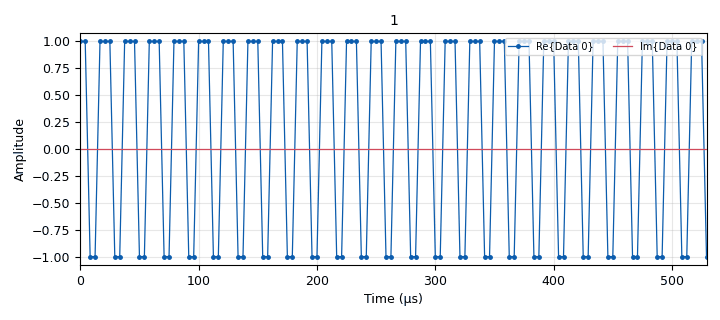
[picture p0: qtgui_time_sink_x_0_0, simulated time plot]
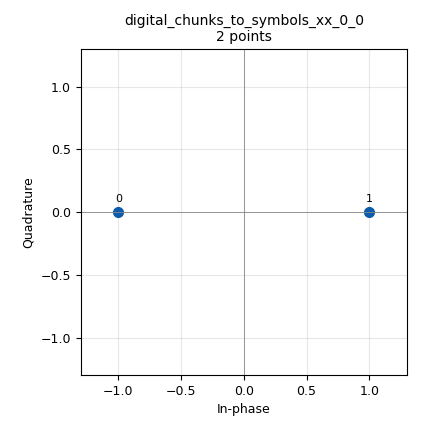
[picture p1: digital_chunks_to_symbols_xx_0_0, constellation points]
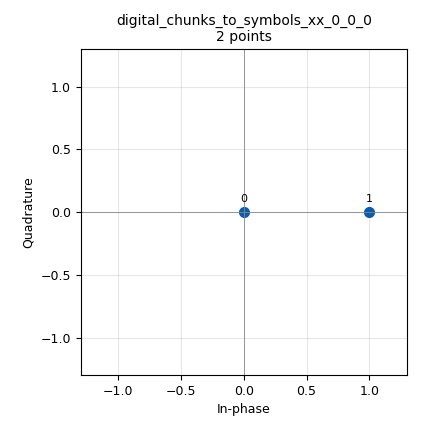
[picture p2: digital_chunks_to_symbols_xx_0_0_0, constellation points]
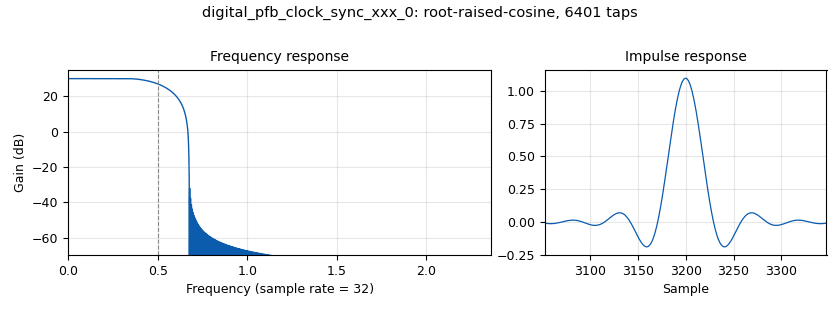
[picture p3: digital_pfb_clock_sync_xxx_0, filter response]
<?xml version='1.0' encoding='utf-8'?>
<?grc format='1' created='3.7.13'?>
<flow_graph>
<block>
<key>options</key>
<param><key>id</key><value>top_block</value></param>
<param><key>author</key><value>Aaron Scher</value></param>
<param><key>description</key><value>Transmit and receive example</value></param>
<param><key>generate_options</key><value>qt_gui</value></param>
<param><key>title</key><value>HackRF - RTLSDR loop back test</value></param>
</block>
<block>
<key>variable</key>
<param><key>id</key><value>EBW</value></param>
<param><key>value</key><value>.35</value></param>
</block>
<block>
<key>variable_rrc_filter_taps</key>
<param><key>id</key><value>RRC_filter_taps</value></param>
<param><key>comment</key><value>Root raised cosine definition.</value></param>
<param><key>alpha</key><value>EBW</value></param>
<param><key>gain</key><value>nfilts</value></param>
<param><key>ntaps</key><value>5*sps_TX*nfilts</value></param>
<param><key>samp_rate</key><value>nfilts</value></param>
<param><key>sym_rate</key><value>1.0</value></param>
</block>
<block>
<key>variable</key>
<param><key>id</key><value>center_freq</value></param>
<param><key>comment</key><value>RF carrier frequency</value></param>
<param><key>value</key><value>100E6</value></param>
</block>
<block>
<key>variable</key>
<param><key>id</key><value>freq_offset_value</value></param>
<param><key>comment</key><value>Digitally upcovert transmitted 
signal by this value to avoid
DC spurs, etc.
At the receiver end, we will
need to downconvert signal
by this value.</value></param>
<param><key>value</key><value>30E3</value></param>
</block>
<block>
<key>variable</key>
<param><key>id</key><value>nfilts</value></param>
<param><key>value</key><value>32</value></param>
</block>
<block>
<key>variable</key>
<param><key>id</key><value>samp_rate</value></param>
<param><key>comment</key><value>Sample rate - 
determines BW
of transmitter and receiver.
This should be larger
than BW of signal itself.</value></param>
<param><key>value</key><value>240E3</value></param>
</block>
<block>
<key>variable</key>
<param><key>id</key><value>sps_RX</value></param>
<param><key>comment</key><value>Samples per 
signal at
receiver</value></param>
<param><key>value</key><value>40/10</value></param>
</block>
<block>
<key>variable</key>
<param><key>id</key><value>sps_TX</value></param>
<param><key>comment</key><value>Samples 
per signal
at transmitter</value></param>
<param><key>value</key><value>40</value></param>
</block>
<block>
<key>analog_feedforward_agc_cc</key>
<param><key>id</key><value>analog_feedforward_agc_cc_0</value></param>
<param><key>comment</key><value>Optional AGC</value></param>
<param><key>num_samples</key><value>1024/2</value></param>
<param><key>reference</key><value>1.0</value></param>
</block>
<block>
<key>analog_pwr_squelch_xx</key>
<param><key>id</key><value>analog_pwr_squelch_xx_0</value></param>
<param><key>alpha</key><value>.01</value></param>
<param><key>comment</key><value>Optional power squelch</value></param>
<param><key>gate</key><value>True</value></param>
<param><key>ramp</key><value>0</value></param>
<param><key>threshold</key><value>-20</value></param>
<param><key>type</key><value>complex</value></param>
</block>
<block>
<key>analog_sig_source_x</key>
<param><key>id</key><value>analog_sig_source_x_0</value></param>
<param><key>amp</key><value>1</value></param>
<param><key>comment</key><value>Local oscillator</value></param>
<param><key>freq</key><value>freq_offset_value</value></param>
<param><key>offset</key><value>0</value></param>
<param><key>type</key><value>complex</value></param>
<param><key>samp_rate</key><value>samp_rate</value></param>
<param><key>waveform</key><value>analog.GR_COS_WAVE</value></param>
</block>
<block>
<key>analog_sig_source_x</key>
<param><key>id</key><value>analog_sig_source_x_1</value></param>
<param><key>amp</key><value>1</value></param>
<param><key>comment</key><value>local oscillator</value></param>
<param><key>freq</key><value>-freq_offset_value</value></param>
<param><key>offset</key><value>0</value></param>
<param><key>type</key><value>complex</value></param>
<param><key>samp_rate</key><value>samp_rate</value></param>
<param><key>waveform</key><value>analog.GR_COS_WAVE</value></param>
</block>
<block>
<key>blocks_message_strobe</key>
<param><key>id</key><value>blocks_message_strobe_0_0</value></param>
<param><key>comment</key><value>Generate hello world message</value></param>
<param><key>_enabled</key><value>0</value></param>
<param><key>msg</key><value>pmt.cons(pmt.make_dict(), pmt.pmt_to_python.numpy_to_uvector(numpy.array([ord(c) for c in "Hello world!"], numpy.uint8)))</value></param>
<param><key>period</key><value>500</value></param>
</block>
<block>
<key>blocks_multiply_const_vxx</key>
<param><key>id</key><value>blocks_multiply_const_vxx_0</value></param>
<param><key>const</key><value>0.5</value></param>
<param><key>type</key><value>complex</value></param>
</block>
<block>
<key>blocks_multiply_xx</key>
<param><key>id</key><value>blocks_multiply_xx_0</value></param>
<param><key>comment</key><value>Perform frequency tranlation 
(up convert)</value></param>
<param><key>type</key><value>complex</value></param>
</block>
<block>
<key>blocks_multiply_xx</key>
<param><key>id</key><value>blocks_multiply_xx_1</value></param>
<param><key>comment</key><value>Perform frequency translation
(down convert)</value></param>
<param><key>type</key><value>complex</value></param>
</block>
<block>
<key>blocks_unpacked_to_packed_xx</key>
<param><key>id</key><value>blocks_unpacked_to_packed_xx_0</value></param>
<param><key>bits_per_chunk</key><value>1</value></param>
<param><key>endianness</key><value>gr.GR_MSB_FIRST</value></param>
<param><key>type</key><value>byte</value></param>
</block>
<block>
<key>blocks_vector_source_x</key>
<param><key>id</key><value>blocks_vector_source_x_0_0_0</value></param>
<param><key>type</key><value>byte</value></param>
<param><key>repeat</key><value>True</value></param>
<param><key>vector</key><value>(1,0,0,0,1)</value></param>
</block>
<block>
<key>digital_binary_slicer_fb</key>
<param><key>id</key><value>digital_binary_slicer_fb_0</value></param>
</block>
<block>
<key>digital_chunks_to_symbols_xx</key>
<param><key>id</key><value>digital_chunks_to_symbols_xx_0_0</value></param>
<param><key>comment</key><value>Binary 1's and 0's to symbols.</value></param>
<param><key>dimension</key><value>1</value></param>
<param><key>in_type</key><value>byte</value></param>
<param><key>out_type</key><value>complex</value></param>
<param><key>symbol_table</key><value>my_const.points()</value></param>
</block>
<block>
<key>digital_chunks_to_symbols_xx</key>
<param><key>id</key><value>digital_chunks_to_symbols_xx_0_0_0</value></param>
<param><key>comment</key><value>Binary 1's and 0's to symbols.</value></param>
<param><key>dimension</key><value>1</value></param>
<param><key>in_type</key><value>byte</value></param>
<param><key>out_type</key><value>complex</value></param>
<param><key>symbol_table</key><value>0,1</value></param>
</block>
<block>
<key>digital_cma_equalizer_cc</key>
<param><key>id</key><value>digital_cma_equalizer_cc_0</value></param>
<param><key>comment</key><value>Channel equalizer</value></param>
<param><key>mu</key><value>.01</value></param>
<param><key>modulus</key><value>1</value></param>
<param><key>num_taps</key><value>11</value></param>
<param><key>sps</key><value>1</value></param>
</block>
<block>
<key>digital_constellation_soft_decoder_cf</key>
<param><key>id</key><value>digital_constellation_soft_decoder_cf_0</value></param>
<param><key>comment</key><value>Decision</value></param>
<param><key>constellation</key><value>my_const</value></param>
</block>
<block>
<key>digital_costas_loop_cc</key>
<param><key>id</key><value>digital_costas_loop_cc_0</value></param>
<param><key>comment</key><value>Fine carrier frequency and phase sync</value></param>
<param><key>w</key><value>.01</value></param>
<param><key>order</key><value>2</value></param>
</block>
<block>
<key>digital_diff_decoder_bb</key>
<param><key>id</key><value>digital_diff_decoder_bb_0</value></param>
<param><key>_enabled</key><value>2</value></param>
<param><key>modulus</key><value>2</value></param>
</block>
<block>
<key>digital_diff_encoder_bb</key>
<param><key>id</key><value>digital_diff_encoder_bb_0</value></param>
<param><key>modulus</key><value>2</value></param>
</block>
<block>
<key>digital_fll_band_edge_cc</key>
<param><key>id</key><value>digital_fll_band_edge_cc_0</value></param>
<param><key>comment</key><value>Carrier frequency sync</value></param>
<param><key>rolloff</key><value>EBW</value></param>
<param><key>w</key><value>.02</value></param>
<param><key>filter_size</key><value>45</value></param>
<param><key>samps_per_sym</key><value>sps_RX</value></param>
<param><key>type</key><value>cc</value></param>
</block>
<block>
<key>digital_pfb_clock_sync_xxx</key>
<param><key>id</key><value>digital_pfb_clock_sync_xxx_0</value></param>
<param><key>comment</key><value>Timing recovery (sync)</value></param>
<param><key>filter_size</key><value>nfilts</value></param>
<param><key>init_phase</key><value>nfilts/2</value></param>
<param><key>loop_bw</key><value>6.28/400.0*2</value></param>
<param><key>max_dev</key><value>1.5</value></param>
<param><key>osps</key><value>1</value></param>
<param><key>sps</key><value>sps_RX</value></param>
<param><key>taps</key><value>RRC_filter_taps</value></param>
<param><key>type</key><value>ccf</value></param>
</block>
<block>
<key>parameter</key>
<param><key>id</key><value>hdr_format</value></param>
<param><key>comment</key><value>Header format definition</value></param>
<param><key>label</key><value>Header Formatter</value></param>
<param><key>value</key><value>digital.header_format_default(digital.packet_utils.default_access_code, 0)</value></param>
</block>
<block>
<key>import</key>
<param><key>id</key><value>import_0</value></param>
<param><key>comment</key><value>Custom Embedded
Python Block uses 
this library.</value></param>
<param><key>import</key><value>import numpy</value></param>
</block>
<block>
<key>parameter</key>
<param><key>id</key><value>my_const</value></param>
<param><key>comment</key><value>Constellation definition</value></param>
<param><key>label</key><value>Constellation</value></param>
<param><key>value</key><value>digital.constellation_calcdist((digital.psk_2()[0]), (digital.psk_2()[1]), 2, 1).base()</value></param>
</block>
<block>
<key>osmosdr_sink</key>
<param><key>id</key><value>osmosdr_sink_0_0</value></param>
<param><key>bb_gain0</key><value>20</value></param>
<param><key>freq0</key><value>center_freq</value></param>
<param><key>if_gain0</key><value>20</value></param>
<param><key>gain0</key><value>30</value></param>
<param><key>comment</key><value>Send our little packet of information out
into the wild, luminiferous aether</value></param>
<param><key>args</key><value>hackrf=2a37a453</value></param>
<param><key>type</key><value>fc32</value></param>
<param><key>sample_rate</key><value>samp_rate</value></param>
<param><key>sync</key><value></value></param>
</block>
<block>
<key>pfb_arb_resampler_xxx</key>
<param><key>id</key><value>pfb_arb_resampler_xxx_0</value></param>
<param><key>comment</key><value>Resample. Apply RRC filter</value></param>
<param><key>nfilts</key><value>nfilts</value></param>
<param><key>rrate</key><value>sps_TX</value></param>
<param><key>atten</key><value>100</value></param>
<param><key>taps</key><value>RRC_filter_taps</value></param>
<param><key>type</key><value>ccf</value></param>
</block>
<block>
<key>qtgui_freq_sink_x</key>
<param><key>id</key><value>qtgui_freq_sink_x_0</value></param>
<param><key>bw</key><value>samp_rate/int(sps_TX/sps_RX)</value></param>
<param><key>fc</key><value>0</value></param>
<param><key>fftsize</key><value>1024</value></param>
<param><key>showports</key><value>True</value></param>
<param><key>type</key><value>complex</value></param>
<param><key>wintype</key><value>firdes.WIN_BLACKMAN_hARRIS</value></param>
</block>
<block>
<key>qtgui_time_sink_x</key>
<param><key>id</key><value>qtgui_time_sink_x_0</value></param>
<param><key>color1</key><value>"blue"</value></param>
<param><key>label1</key><value></value></param>
<param><key>marker1</key><value>0</value></param>
<param><key>color2</key><value>"red"</value></param>
<param><key>label2</key><value></value></param>
<param><key>name</key><value>"2"</value></param>
<param><key>size</key><value>1024</value></param>
<param><key>srate</key><value>samp_rate</value></param>
<param><key>type</key><value>complex</value></param>
</block>
<block>
<key>qtgui_time_sink_x</key>
<param><key>id</key><value>qtgui_time_sink_x_0_0</value></param>
<param><key>color1</key><value>"blue"</value></param>
<param><key>label1</key><value></value></param>
<param><key>marker1</key><value>0</value></param>
<param><key>color2</key><value>"red"</value></param>
<param><key>label2</key><value></value></param>
<param><key>name</key><value>"1"</value></param>
<param><key>size</key><value>128</value></param>
<param><key>srate</key><value>samp_rate</value></param>
<param><key>type</key><value>complex</value></param>
</block>
<block>
<key>rational_resampler_xxx</key>
<param><key>id</key><value>rational_resampler_xxx_0</value></param>
<param><key>comment</key><value>Downsample and LPF</value></param>
<param><key>decim</key><value>int(sps_TX/sps_RX)</value></param>
<param><key>interp</key><value>1</value></param>
<param><key>taps</key><value></value></param>
<param><key>type</key><value>ccc</value></param>
</block>
<block>
<key>rtlsdr_source</key>
<param><key>id</key><value>rtlsdr_source_1</value></param>
<param><key>bb_gain0</key><value>0</value></param>
<param><key>dc_offset_mode0</key><value>2</value></param>
<param><key>corr0</key><value>13</value></param>
<param><key>freq0</key><value>center_freq</value></param>
<param><key>gain_mode0</key><value>True</value></param>
<param><key>if_gain0</key><value>0</value></param>
<param><key>iq_balance_mode0</key><value>2</value></param>
<param><key>gain0</key><value>40</value></param>
<param><key>comment</key><value>Electromagnetic dream catcher</value></param>
<param><key>args</key><value>rtl=0</value></param>
<param><key>type</key><value>fc32</value></param>
<param><key>sample_rate</key><value>samp_rate</value></param>
<param><key>sync</key><value>pc_clock</value></param>
</block>
<connection><source_block_id>analog_feedforward_agc_cc_0</source_block_id><sink_block_id>digital_pfb_clock_sync_xxx_0</sink_block_id><source_key>0</source_key><sink_key>0</sink_key></connection>
<connection><source_block_id>analog_pwr_squelch_xx_0</source_block_id><sink_block_id>digital_fll_band_edge_cc_0</sink_block_id><source_key>0</source_key><sink_key>0</sink_key></connection>
<connection><source_block_id>analog_pwr_squelch_xx_0</source_block_id><sink_block_id>qtgui_freq_sink_x_0</sink_block_id><source_key>0</source_key><sink_key>0</sink_key></connection>
<connection><source_block_id>analog_sig_source_x_0</source_block_id><sink_block_id>blocks_multiply_xx_0</sink_block_id><source_key>0</source_key><sink_key>1</sink_key></connection>
<connection><source_block_id>analog_sig_source_x_1</source_block_id><sink_block_id>blocks_multiply_xx_1</sink_block_id><source_key>0</source_key><sink_key>1</sink_key></connection>
<connection><source_block_id>blocks_multiply_const_vxx_0</source_block_id><sink_block_id>blocks_multiply_xx_0</sink_block_id><source_key>0</source_key><sink_key>0</sink_key></connection>
<connection><source_block_id>blocks_multiply_xx_0</source_block_id><sink_block_id>osmosdr_sink_0_0</sink_block_id><source_key>0</source_key><sink_key>0</sink_key></connection>
<connection><source_block_id>blocks_multiply_xx_1</source_block_id><sink_block_id>rational_resampler_xxx_0</sink_block_id><source_key>0</source_key><sink_key>0</sink_key></connection>
<connection><source_block_id>blocks_unpacked_to_packed_xx_0</source_block_id><sink_block_id>digital_diff_encoder_bb_0</sink_block_id><source_key>0</source_key><sink_key>0</sink_key></connection>
<connection><source_block_id>blocks_vector_source_x_0_0_0</source_block_id><sink_block_id>blocks_unpacked_to_packed_xx_0</sink_block_id><source_key>0</source_key><sink_key>0</sink_key></connection>
<connection><source_block_id>digital_binary_slicer_fb_0</source_block_id><sink_block_id>digital_diff_decoder_bb_0</sink_block_id><source_key>0</source_key><sink_key>0</sink_key></connection>
<connection><source_block_id>digital_chunks_to_symbols_xx_0_0</source_block_id><sink_block_id>pfb_arb_resampler_xxx_0</sink_block_id><source_key>0</source_key><sink_key>0</sink_key></connection>
<connection><source_block_id>digital_chunks_to_symbols_xx_0_0</source_block_id><sink_block_id>qtgui_time_sink_x_0_0</sink_block_id><source_key>0</source_key><sink_key>0</sink_key></connection>
<connection><source_block_id>digital_chunks_to_symbols_xx_0_0_0</source_block_id><sink_block_id>qtgui_time_sink_x_0</sink_block_id><source_key>0</source_key><sink_key>0</sink_key></connection>
<connection><source_block_id>digital_cma_equalizer_cc_0</source_block_id><sink_block_id>digital_constellation_soft_decoder_cf_0</sink_block_id><source_key>0</source_key><sink_key>0</sink_key></connection>
<connection><source_block_id>digital_constellation_soft_decoder_cf_0</source_block_id><sink_block_id>digital_binary_slicer_fb_0</sink_block_id><source_key>0</source_key><sink_key>0</sink_key></connection>
<connection><source_block_id>digital_costas_loop_cc_0</source_block_id><sink_block_id>digital_cma_equalizer_cc_0</sink_block_id><source_key>0</source_key><sink_key>0</sink_key></connection>
<connection><source_block_id>digital_diff_decoder_bb_0</source_block_id><sink_block_id>digital_chunks_to_symbols_xx_0_0_0</sink_block_id><source_key>0</source_key><sink_key>0</sink_key></connection>
<connection><source_block_id>digital_diff_encoder_bb_0</source_block_id><sink_block_id>digital_chunks_to_symbols_xx_0_0</sink_block_id><source_key>0</source_key><sink_key>0</sink_key></connection>
<connection><source_block_id>digital_fll_band_edge_cc_0</source_block_id><sink_block_id>analog_feedforward_agc_cc_0</sink_block_id><source_key>0</source_key><sink_key>0</sink_key></connection>
<connection><source_block_id>digital_pfb_clock_sync_xxx_0</source_block_id><sink_block_id>digital_costas_loop_cc_0</sink_block_id><source_key>0</source_key><sink_key>0</sink_key></connection>
<connection><source_block_id>pfb_arb_resampler_xxx_0</source_block_id><sink_block_id>blocks_multiply_const_vxx_0</sink_block_id><source_key>0</source_key><sink_key>0</sink_key></connection>
<connection><source_block_id>rational_resampler_xxx_0</source_block_id><sink_block_id>analog_pwr_squelch_xx_0</sink_block_id><source_key>0</source_key><sink_key>0</sink_key></connection>
<connection><source_block_id>rtlsdr_source_1</source_block_id><sink_block_id>blocks_multiply_xx_1</sink_block_id><source_key>0</source_key><sink_key>0</sink_key></connection>
</flow_graph>
